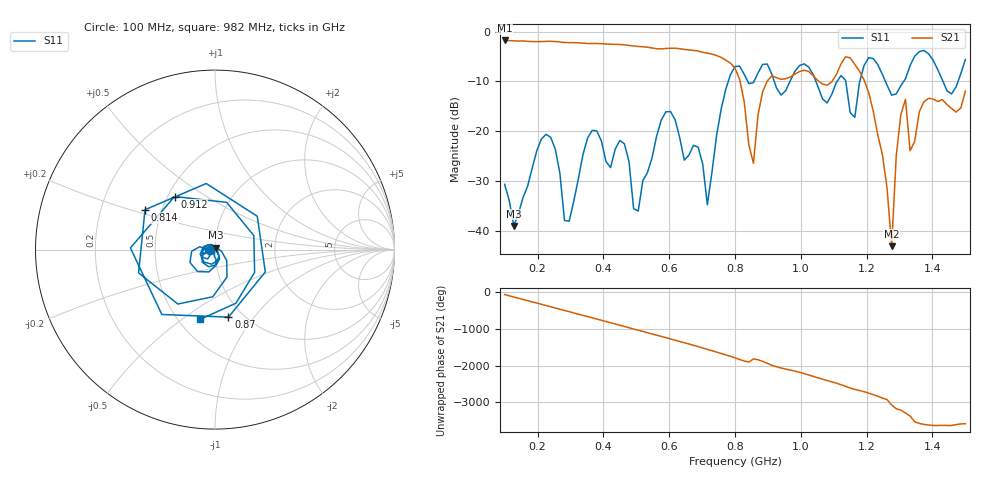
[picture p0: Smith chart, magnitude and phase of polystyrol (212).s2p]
! NanoVNA-App
! Date: 2025-09-25 15:31:32
! Start: 100MHz Stop: 1,5GHz Points: 101
! S-Parameter data: F S11 S21 S12 S22
# Hz S RI R 50
!  Frequency  S11_Real  S11_Imag  S21_Real  S21_Imag  S12_Real  S12_Imag  S22_Real  S22_Imag
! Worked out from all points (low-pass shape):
!   101 points, 100 MHz to 1.5 GHz, reference 50 ohm
!   highest |S21| = -1.80 dB at 100 MHz (marker M1); lowest = -43.1 dB at 1.276 GHz (marker M2)
!   |S21| within 3 dB of the highest: start of sweep to 742.9 MHz
!   lowest |S11| = -39.1 dB at 128 MHz (marker M3), VSWR 1.02, Z = 50.3 + j1.06 ohm
!   |S11| at or under -10 dB: start of sweep to 779.7 MHz; 1.046 GHz to 1.11 GHz (64.67 MHz wide, 6 % of centre); 1.257 GHz to 1.313 GHz (56.01 MHz wide, 4.36 % of centre) (the widest 3 of 7)
!   S12 and S22 are empty: the file has one direction only
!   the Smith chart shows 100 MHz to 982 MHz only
!   S11 on the Smith chart (normalised r, x): 100 MHz: 0.94, -0.01; 814 MHz: 0.40, +0.22; 870 MHz: 0.86, -0.75; 912 MHz: 0.54, +0.37; 982 MHz: 0.63, -0.59
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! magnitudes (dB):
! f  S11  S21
! 100 MHz  -30.7  -1.8
! 128 MHz  -39.1  -1.9
! 212 MHz  -21.6  -2.0
! 282 MHz  -38.0  -2.2
! 338 MHz  -24.7  -2.3
! 464 MHz  -22.6  -2.7
! 506 MHz  -36.1  -3.0
! 576 MHz  -17.8  -3.5
! 716 MHz  -34.8  -4.3
! 800 MHz  -7.0  -7.4
! 814 MHz  -7.0  -9.6
! 856 MHz  -10.3  -26.5
! 870 MHz  -8.3  -16.7
! 912 MHz  -8.6  -8.9
! 982 MHz  -8.0  -8.6
! 1.038 GHz  -8.7  -8.9
! 1.164 GHz  -17.2  -6.6
! 1.192 GHz  -6.9  -9.7
! 1.276 GHz  -12.8  -43.1
! 1.318 GHz  -9.5  -13.6
! 1.332 GHz  -6.8  -24.0
! 1.5 GHz  -5.6  -12.0
